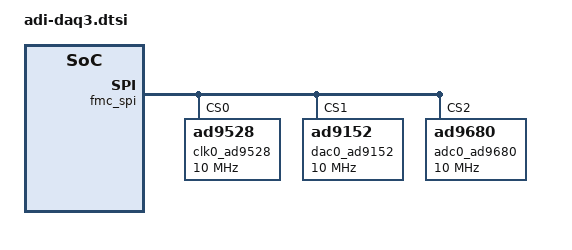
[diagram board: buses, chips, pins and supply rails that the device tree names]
#include <dt-bindings/iio/frequency/ad9528.h>

&fmc_spi {
	clk0_ad9528: ad9528-1@0 {
		#address-cells = <1>;
		#size-cells = <0>;
		#clock-cells = <1>;
		compatible = "ad9528";

		spi-cpol;
		spi-cpha;
		spi-max-frequency = <10000000>;
		adi,spi-3wire-enable;
		reg = <0>;

		clock-output-names = "ad9528-1_out0", "ad9528-1_out1", "ad9528-1_out2", "ad9528-1_out3", "ad9528-1_out4", "ad9528-1_out5", "ad9528-1_out6", "ad9528-1_out7", "ad9528-1_out8", "ad9528-1_out9", "ad9528-1_out10", "ad9528-1_out11", "ad9528-1_out12", "ad9528-1_out13";
		adi,vcxo-freq = <125000000>;

		/* PLL1 config */
		adi,pll1-bypass-enable;
		adi,osc-in-diff-enable;

		/* PLL2 config for VCO = 3750MHz, N = 30*/
		adi,pll2-ndiv-a-cnt = <2>; /* a = N % 4 */
		adi,pll2-ndiv-b-cnt = <7>; /* b = N / 4 */
		adi,pll2-vco-diff-m1 = <3>;
		adi,pll2-n2-div = <10>; /* N / M1 */
		adi,pll2-r1-div = <1>;
		adi,pll2-charge-pump-current-nA = <35000>;

		/* SYSREF config */
		adi,sysref-src = <SYSREF_SRC_INTERNAL>;
		adi,sysref-k-div = <8>;

		adi,rpole2 = <RPOLE2_900_OHM>;
		adi,rzero = <RZERO_1850_OHM>;
		adi,cpole1 = <CPOLE1_16_PF>;

		ad9528_0_c13: channel@13 {
			reg = <13>;
			adi,extended-name = "ADC_CLK";
			adi,driver-mode = <DRIVER_MODE_LVDS>;
			adi,divider-phase = <0>;
			adi,channel-divider = <1>;
			adi,signal-source = <SOURCE_VCO>;
		};

		ad9528_0_c2: channel@2 {
			reg = <2>;
			adi,extended-name = "DAC_CLK";
			adi,driver-mode = <DRIVER_MODE_LVDS>;
			adi,divider-phase = <0>;
			adi,channel-divider = <1>;
			adi,signal-source = <SOURCE_VCO>;
		};

		ad9528_0_c4: channel@4 {
			reg = <4>;
			adi,extended-name = "ADC_CLK_FMC";
			adi,driver-mode = <DRIVER_MODE_LVDS>;
			adi,divider-phase = <0>;
			adi,channel-divider = <2>;
			adi,signal-source = <SOURCE_VCO>;
		};

		ad9528_0_c5: channel@5 {
			reg = <5>;
			adi,extended-name = "ADC_SYSREF";
			adi,driver-mode = <DRIVER_MODE_LVDS>;
			adi,divider-phase = <0>;
			adi,channel-divider = <1>;
			adi,signal-source = <SOURCE_SYSREF_VCO>;
		};

		ad9528_0_c6: channel@6 {
			reg = <6>;
			adi,extended-name = "CLKD_ADC_SYSREF";
			adi,driver-mode = <DRIVER_MODE_LVDS>;
			adi,divider-phase = <0>;
			adi,channel-divider = <2>;
			adi,signal-source = <SOURCE_SYSREF_VCO>;
		};

		ad9528_0_c7: channel@7 {
			reg = <7>;
			adi,extended-name = "CLKD_DAC_SYSREF";
			adi,driver-mode = <DRIVER_MODE_LVDS>;
			adi,divider-phase = <0>;
			adi,channel-divider = <2>;
			adi,signal-source = <SOURCE_SYSREF_VCO>;
		};

		ad9528_0_c8: channel@8 {
			reg = <8>;
			adi,extended-name = "DAC_SYSREF";
			adi,driver-mode = <DRIVER_MODE_LVDS>;
			adi,divider-phase = <0>;
			adi,channel-divider = <1>;
			adi,signal-source = <SOURCE_SYSREF_VCO>;
		};

		ad9528_0_c9: channel@9 {
			reg = <9>;
			adi,extended-name = "DAC_CLK_FMC";
			adi,driver-mode = <DRIVER_MODE_LVDS>;
			adi,divider-phase = <0>;
			adi,channel-divider = <2>;
			adi,signal-source = <SOURCE_VCO>;
		};
	};

	dac0_ad9152: ad9152@1 {
		#address-cells = <1>;
		#size-cells = <0>;
		compatible = "ad9152";

		spi-cpol;
		spi-cpha;
		spi-max-frequency = <10000000>;
		adi,spi-3wire-enable;
		reg = <1>;

		clocks = <&axi_ad9152_jesd>, <&clk0_ad9528 2>, <&clk0_ad9528 8>;
		clock-names = "jesd_dac_clk", "dac_clk", "dac_sysref";

		/* Fix for an early DAQ3 design bug (swapped SERDIN+ / SERDIN- pins) */
		//adi,lanes2-3-swap-data;
	};

	adc0_ad9680: ad9680@2 {
		#address-cells = <1>;
		#size-cells = <0>;
		compatible = "ad9680";

		spi-cpol;
		spi-cpha;
		spi-max-frequency = <10000000>;
		adi,spi-3wire-enable;
		reg = <2>;
		/* Content of Registers: 0x16, 0x18, 0x19, 0x1A, 0x30, 0x11A, 0x934, 0x935 */
		adi,sfdr-optimization-config = <0xE 0xA0 0x50 0x09 0x18 0x00 0x1F 0x04>;

		clocks = <&axi_ad9680_jesd>, <&clk0_ad9528 13>, <&clk0_ad9528 5>;
		clock-names = "jesd_adc_clk", "adc_clk", "adc_sysref";
	};
};
